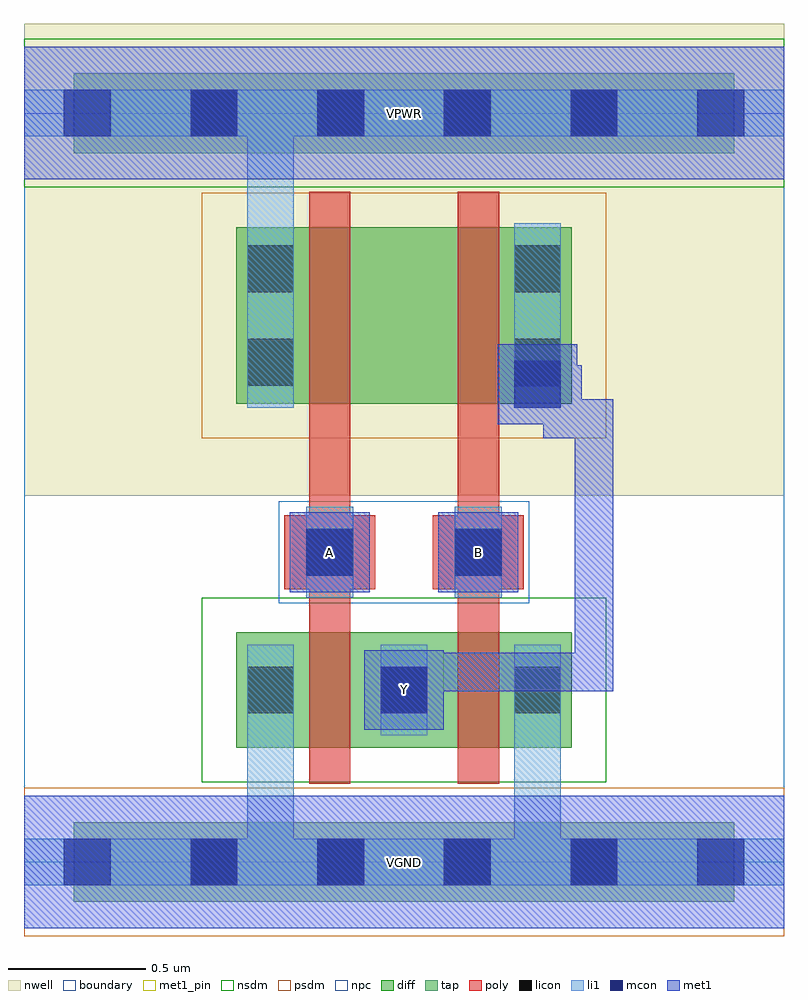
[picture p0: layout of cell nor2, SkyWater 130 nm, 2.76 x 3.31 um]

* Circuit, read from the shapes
.subckt nor2 A B VGND VPWR Y
XM1 Y A VGND VGND sky130_fd_pr__nfet_01v8 w=0.42 l=0.15
XM2 VGND B Y VGND sky130_fd_pr__nfet_01v8 w=0.42 l=0.15
XM3 n1 A VPWR VPWR sky130_fd_pr__pfet_01v8 w=0.64 l=0.15
XM4 Y B n1 VPWR sky130_fd_pr__pfet_01v8 w=0.64 l=0.15
.ends

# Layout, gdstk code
import gdstk
lib = gdstk.Library(unit=1e-6, precision=1e-09)
def R(c, l, rs):  # rectangles x0, y0, x1, y1
    for r in rs: c.add(gdstk.rectangle(r[:2], r[2:], *l))
def A(c, l, x, y, w, h, nx, ny, dx, dy):  # array of equal rectangles
    R(c, l, [(x+i*dx, y+j*dy, x+i*dx+w, y+j*dy+h) for i in range(nx) for j in range(ny)])
nwell = (64, 20)
diff = (65, 20)
tap = (65, 44)
poly = (66, 20)
licon = (66, 44)
li1 = (67, 20)
mcon = (67, 44)
met1_pin = (68, 16)
met1 = (68, 20)
nsdm = (93, 44)
psdm = (94, 20)
npc = (95, 20)
boundary = (235, 4)

nor2 = lib.new_cell('nor2')
R(nor2, nwell, [(0,1.33,2.76,3.045)])
R(nor2, diff, [(0.77,0.415,1.99,0.835), (0.77,1.665,1.99,2.305)])
R(nor2, tap, [(0.18,-0.145,2.58,0.145), (0.18,2.575,2.58,2.865)])
R(nor2, poly, [(1.035,0.285,1.185,2.435), (1.575,0.285,1.725,2.435), (0.945,0.99,1.275,1.26), (1.485,0.99,1.815,1.26)])
A(nor2, licon, 0.605, -0.085, 0.17, 0.17, 4, 2, 0.46, 2.72)
A(nor2, licon, 0.81, 0.54, 0.17, 0.17, 3, 1, 0.485, 0)
R(nor2, licon, [(1.025,1.04,1.195,1.21), (1.565,1.04,1.735,1.21), (0.81,1.73,0.98,1.9), (1.78,1.73,1.95,1.9), (0.81,2.07,0.98,2.24), (1.78,2.07,1.95,2.24)])
A(nor2, li1, 0.81, 0.46, 0.17, 0.33, 3, 1, 0.485, 0)
R(nor2, li1, [(0,-0.085,2.76,0.085), (0.81,-0.085,0.98,0.79), (1.78,-0.085,1.95,0.79), (1.025,0.96,1.195,1.29), (1.565,0.96,1.735,1.29), (0.81,1.65,0.98,2.32), (0.81,1.65,0.98,2.805), (1.78,1.65,1.95,2.32), (0,2.635,2.76,2.805)])
A(nor2, mcon, 0.145, -0.085, 0.17, 0.17, 6, 2, 0.46, 2.72)
R(nor2, mcon, [(1.295,0.54,1.465,0.71), (1.025,1.04,1.195,1.21), (1.565,1.04,1.735,1.21), (1.78,1.65,1.95,1.82)])
R(nor2, met1_pin, [(0,-0.24,2.76,0.24), (1.235,0.48,1.525,0.77), (0.965,0.98,1.255,1.27), (1.505,0.98,1.795,1.27), (0,2.48,2.76,2.96)])
R(nor2, met1, [(0,-0.24,2.76,0.24), (1.235,0.48,1.525,0.77), (1.31,0.62,1.45,0.76), (1.31,0.62,2.14,0.76), (2,0.62,2.14,1.68), (0.965,0.98,1.255,1.27), (1.505,0.98,1.795,1.27), (1.885,1.54,2.025,1.805), (1.885,1.54,2.14,1.68), (1.72,1.59,2.01,1.88), (1.795,1.665,2.025,1.805), (0,2.48,2.76,2.96)])
R(nor2, nsdm, [(0.645,0.29,2.115,0.96), (0,2.45,2.76,2.99)])
R(nor2, psdm, [(0,-0.27,2.76,0.27), (0.645,1.54,2.115,2.43)])
R(nor2, npc, [(0.925,0.94,1.835,1.31)])
R(nor2, boundary, [(0,0,2.76,2.72)])
nor2.add(gdstk.Label('A', (1.11,1.125), layer=68, texttype=5))
nor2.add(gdstk.Label('B', (1.65,1.125), layer=68, texttype=5))
nor2.add(gdstk.Label('Y', (1.38,0.625), layer=68, texttype=5))
nor2.add(gdstk.Label('VPWR', (1.38,2.72), layer=68, texttype=5))
nor2.add(gdstk.Label('VGND', (1.38,0), layer=68, texttype=5))
nor2.add(gdstk.Label('A', (1.11,1.125), layer=68, texttype=16))
nor2.add(gdstk.Label('B', (1.65,1.125), layer=68, texttype=16))
nor2.add(gdstk.Label('Y', (1.38,0.625), layer=68, texttype=16))
nor2.add(gdstk.Label('VPWR', (1.38,2.72), layer=68, texttype=16))
nor2.add(gdstk.Label('VGND', (1.38,0), layer=68, texttype=16))

lib.write_gds('nor2.gds')
